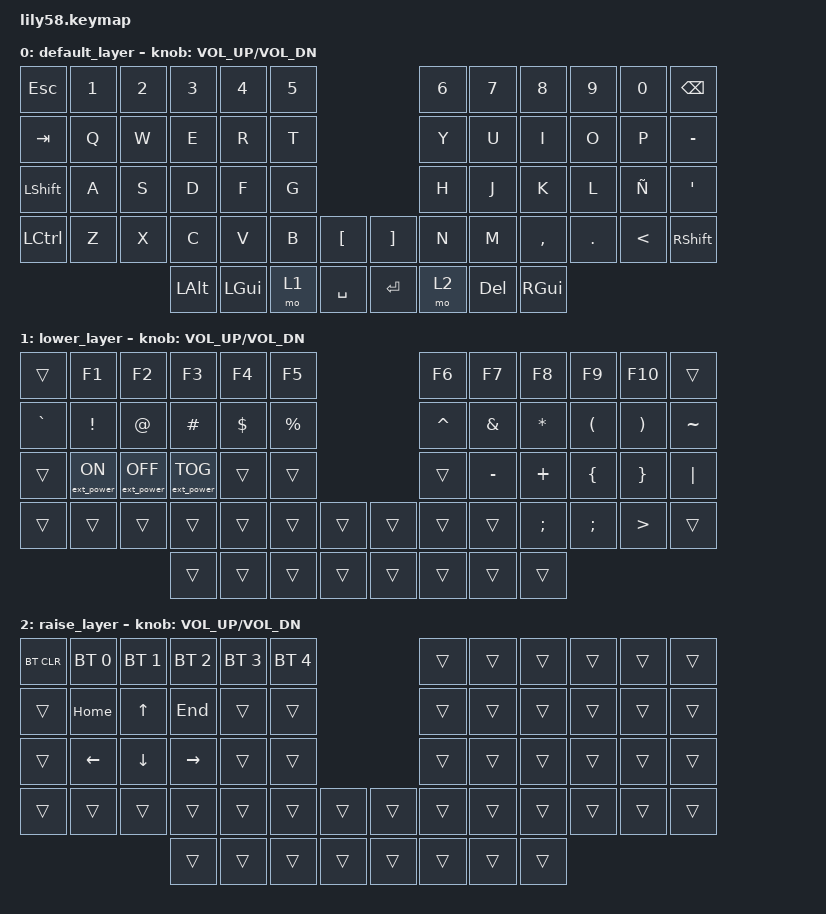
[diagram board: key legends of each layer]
/*
 * Copyright (c) 2020 The ZMK Contributors
 *
 * SPDX-License-Identifier: MIT
 */

#include <behaviors.dtsi>
#include <dt-bindings/zmk/keys.h>
#include <dt-bindings/zmk/bt.h>
#include <dt-bindings/zmk/ext_power.h>

/ {
    keymap {
        compatible = "zmk,keymap";

        default_layer {
// ------------------------------------------------------------------------------------------------------------
// |  ESC  |  1  |  2  |  3  |  4  |  5    |                   |  6    |  7  |  8  |  9  |   0   |  BSPC |
// |  TAB  |  Q  |  W  |  E  |  R  |  T    |                   |  Y    |  U  |  I  |  O  |   P   |   -   |
// | SHIFT |  A  |  S  |  D  |  F  |  G    |                   |  H    |  J  |  K  |  L  |   Ñ   |   '   |
// |  CTRL |  Z  |  X  |  C  |  V  |  B    |   "["  |  |  "]"  |  N    |  M  |  ,  |  .  |   <   | SHIFT |
//                     | ALT | GUI | LOWER |  SPACE |  | ENTER | RAISE | GUI | DEL |
            bindings = <
&kp ESC   &kp N1 &kp N2 &kp N3   &kp N4   &kp N5                     &kp N6 &kp N7   &kp N8    &kp N9  &kp N0   &kp BSPC
&kp TAB   &kp Q  &kp W  &kp E    &kp R    &kp T                      &kp Y  &kp U    &kp I     &kp O   &kp P    &kp MINUS
&kp LSHFT &kp A  &kp S  &kp D    &kp F    &kp G                      &kp H  &kp J    &kp K     &kp L   &kp Ñ    &kp SQT
&kp LCTRL &kp Z  &kp X  &kp C    &kp V    &kp B  &kp LBKT   &kp RBKT &kp N  &kp M    &kp COMMA &kp DOT &kp LT &kp RSHFT
                        &kp LALT &kp LGUI &mo 1  &kp SPACE  &kp RET  &mo 2  &kp DEL  &kp RGUI
            >;

            sensor-bindings = <&inc_dec_kp C_VOL_UP C_VOL_DN>;
        };

        lower_layer {
// ------------------------------------------------------------------------------------------------------------
// |       |  F1 |  F2 |  F3  |  F4  |  F5  |                   |  F6  |  F7   |  F8   |  F9  |  F10  |       |
// |   `   |  !  |  @  |  #   |  $   |  %   |                   |  ^   |  &    |  *    |  (   |   )   |   ~   |
// |       |     |     |      |      |      |                   |      |  _    |  +    |  {   |   }   |  "|"  |
// |       |     |     |      |      |      |   F11  |  |  F12  |      |       |  ;    |  :   |   >   |       |
//                     |      |      |      |        |  |       |      |       |       |
            bindings = <
&trans     &kp F1           &kp F2            &kp F3            &kp F4       &kp F5                        &kp F6     &kp F7    &kp F8     &kp F9    &kp F10   &trans
&kp GRAVE  &kp EXCL         &kp AT            &kp HASH          &kp DOLLAR   &kp PRCNT                     &kp CARET  &kp AMPS  &kp ASTRK  &kp LPAR  &kp RPAR  &kp TILDE
&trans     &ext_power EP_ON &ext_power EP_OFF &ext_power EP_TOG &trans       &trans                        &trans     &kp MINUS &kp PLUS   &kp LBRC  &kp RBRC  &kp PIPE
&trans     &trans           &trans            &trans            &trans       &trans     &trans   &trans    &trans     &trans    &kp SEMICOLON     &kp SEMI    &kp GT    &trans
                            &trans            &trans            &trans       &trans     &trans   &trans    &trans     &trans
            >;

            sensor-bindings = <&inc_dec_kp C_VOL_UP C_VOL_DN>;
        };

        raise_layer {
// ------------------------------------------------------------------------------------------------------------
// | BTCLR |  BT1 | BT2 |  BT3 |  BT4 |  BT5 |                   |      |       |       |      |       |       |
// |       | HOME |  ↑  |  END |      |      |                   |      |       |       |      |       |       |
// |       |   ←  |  ↓  |   →  |      |      |                   |      |       |       |      |       |       |
// |       |      |     |      |      |      |        |  |       |      |       |       |      |       |       |
//                      |      |      |      |        |  |       |      |       |       |
            bindings = <
&bt BT_CLR  &bt BT_SEL 0  &bt BT_SEL 1  &bt BT_SEL 2  &bt BT_SEL 3  &bt BT_SEL 4                &trans      &trans    &trans    &trans   &trans    &trans
&trans      &kp HOME      &kp UP        &kp END       &trans        &trans                      &trans      &trans    &trans    &trans   &trans    &trans
&trans      &kp LEFT      &kp DOWN      &kp RIGHT     &trans        &trans                      &trans      &trans    &trans    &trans   &trans    &trans
&trans      &trans        &trans        &trans        &trans        &trans   &trans   &trans    &trans      &trans    &trans    &trans   &trans    &trans
                                        &trans        &trans        &trans   &trans   &trans    &trans      &trans    &trans
            >;

            sensor-bindings = <&inc_dec_kp C_VOL_UP C_VOL_DN>;
        };
    };
};
